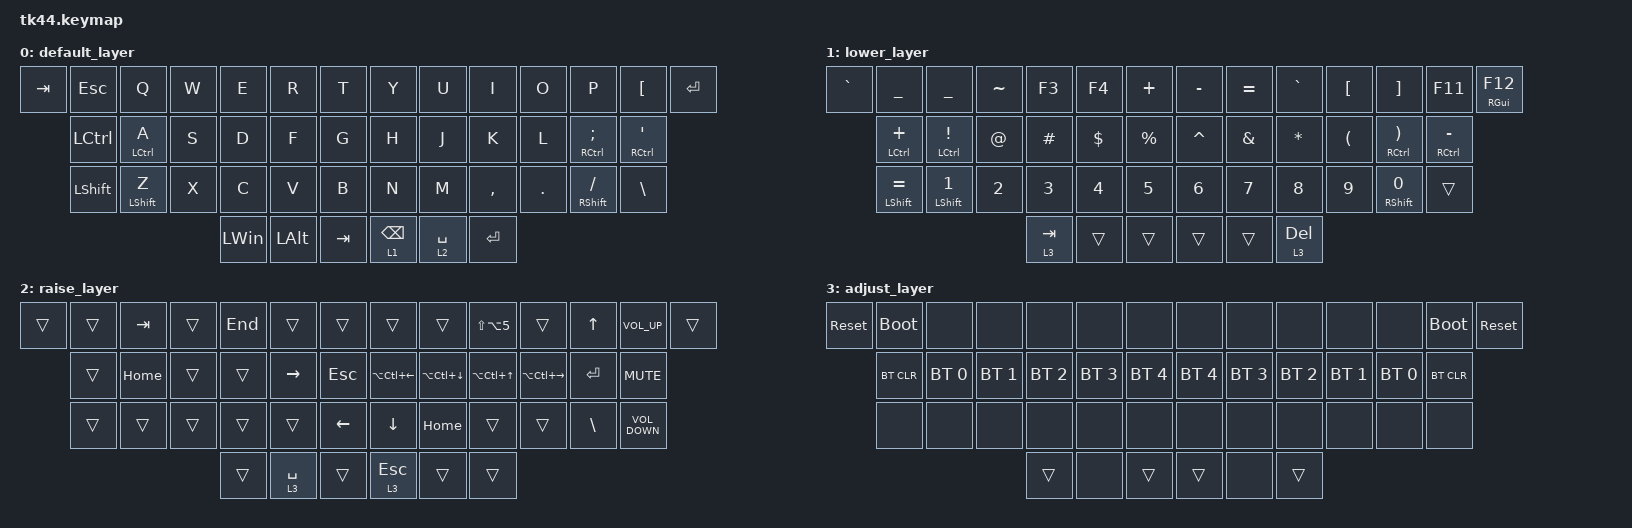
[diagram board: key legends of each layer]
/*
 * Copyright (c) 2022 The ZMK Contributors
 *
 * SPDX-License-Identifier: MIT
 */

#include <behaviors.dtsi>
#include <dt-bindings/zmk/bt.h>
#include <dt-bindings/zmk/keys.h>
#include <dt-bindings/zmk/keys.h>

#define DEF 0
#define LWR 1
#define RSE 2
#define ADJ 3

&lt { quick_tap_ms = <200>; };

&mt {
    quick_tap_ms = <350>;
    flavor = "tap-preferred";
};

/ {
    macros {
        kill: kill {
            compatible = "zmk,behavior-macro";
            #binding-cells = <0>;
            bindings = <&kp LS(END) &kp LA(X)>;
            label = "KILL";
        };

        copy: copy {
            compatible = "zmk,behavior-macro";
            #binding-cells = <0>;
            bindings = <&kp LA(C) &kt LEFT_SHIFT>;
            label = "COPY";
        };

        killregion: killregion {
            compatible = "zmk,behavior-macro";
            #binding-cells = <0>;
            bindings = <&kp LA(X) &kt LEFT_SHIFT>;
            label = "KILLREGION";
        };
    };

    combos {
        compatible = "zmk,combos";

        esc {
            bindings = <&kp ESC>;
            key-positions = <2 3>;
        };

        sqt {
            bindings = <&kp SQT>;
            key-positions = <24 23>;
        };

        bslh {
            bindings = <&kp BSLH>;
            key-positions = <36 35>;
        };

        lbkt {
            bindings = <&kp LBKT>;
            key-positions = <11 10>;
        };

        tab {
            bindings = <&kp TAB>;
            key-positions = <17 16>;
        };

        enter {
            bindings = <&kp ENTER>;
            key-positions = <22 23>;
        };
    };

    keymap {
        compatible = "zmk,keymap";

        default_layer {
            // -----------------------------------------------------------------------------------------
            // |  GUI |   ~  |  Q  |  W  |  E  |  R  |  T  |   |  Y  |  U   |  I  |  O  |  P  |  [   | GUI/] |
            //        | CTRL |  A  |  S  |  D  |  F  |  G  |   |  H  |  J   |  K  |  L  |  ;  |CTRL/'|
            //        | LALT |  Z  |  X  |  C  |  V  |  B  |   |  N  |  M   |  ,  |  .  |  /  | RALT |
            //                           | RSE | SPC | LWR |   | LWR | BKSP | RSE |

            bindings = <
&kp TAB  &kp ESCAPE  &kp Q             &kp W  &kp E         &kp R         &kp T      &kp Y            &kp U        &kp I      &kp O    &kp P             &kp LBKT       &kp ENTER
         &kp LCTRL   &mt LCTRL A       &kp S  &kp D         &kp F         &kp G      &kp H            &kp J        &kp K      &kp L    &mt RCTRL SEMI    &mt RCTRL SQT
         &kp LSHFT   &mt LEFT_SHIFT Z  &kp X  &kp C         &kp V         &kp B      &kp N            &kp M        &kp COMMA  &kp DOT  &mt RSHIFT SLASH  &kp BACKSLASH
                                              &kp LEFT_WIN  &kp LEFT_ALT  &kp TAB    &lt 1 BACKSPACE  &lt 2 SPACE  &kp ENTER
            >;
        };

        lower_layer {
            // -----------------------------------------------------------------------------------------
            // |     |  _  |  F1 |  F2 |  F3 |  F4 |  F5 |   |  F6 |  F7 |  F8 |  F9 | F10 | F11 | F12 |
            //       |  +  |  !  |  @  |  #  |  $  |  %  |   |  ^  |  &  |  *  |  (  |  )  |  -  |
            //       |  =  |  1  |  2  |  3  |  4  |  5  |   |  6  |  7  |  8  |  9  |  0  |     |
            //                    | GUI |     | SPC |   | ENT |     | ALT |

            bindings = <
&kp GRAVE  &kp UNDER         &kp UNDER       &kp TILDE  &kp F3     &kp F4    &kp PLUS     &kp MINUS  &kp EQUAL  &kp GRAVE  &kp LEFT_BRACKET  &kp RIGHT_BRACKET            &kp F11          &mt RGUI F12
           &mt LCTRL PLUS    &mt LCTRL EXCL  &kp AT     &kp HASH   &kp DLLR  &kp PRCNT    &kp CARET  &kp AMPS   &kp STAR   &kp LPAR          &mt RCTRL RIGHT_PARENTHESIS  &mt RCTRL MINUS
           &mt LSHIFT EQUAL  &mt LSHIFT N1   &kp N2     &kp N3     &kp N4    &kp N5       &kp N6     &kp N7     &kp N8     &kp N9            &mt RIGHT_SHIFT N0           &trans
                                                        &lt 3 TAB  &trans    &trans       &trans     &trans     &lt 3 DEL
            >;
        };

        raise_layer {
            // -----------------------------------------------------------------------------------------
            // |     | NMLK |  /  |  7  |  8  |  9  |  -  |   | VOLU| HOME| PRSC| PGUP| SCLK| CLCK|     |
            //       | CTRL |  *  |  4  |  5  |  6  |  +  |   | MUT | LEFT|  UP | RGHT| INS | APP |
            //       |      |  0  |  1  |  2  |  3  |  .  |   | VOLD| END | DOWN| PGDN| PAUS|     |
            //                          |     |     | ADJ |   | ADJ |     |     |

            bindings = <
&trans  &trans  &kp TAB   &trans  &kp END  &trans       &trans      &trans            &trans            &kp LS(LA(N5))  &trans             &kp UP         &kp C_VOLUME_UP    &trans
        &trans  &kp HOME  &trans  &trans   &kp RIGHT    &kp ESC     &kp LA(LC(LEFT))  &kp LA(LC(DOWN))  &kp LA(LC(UP))  &kp LA(LC(RIGHT))  &kp ENTER      &kp K_MUTE
        &trans  &trans    &trans  &trans   &trans       &kp LEFT    &kp DOWN          &kp HOME          &trans          &trans             &kp BACKSLASH  &kp C_VOLUME_DOWN
                                  &trans   &lt 3 SPACE  &trans      &lt 3 ESC         &trans            &trans
            >;
        };

        adjust_layer {
            // -----------------------------------------------------------------------------------------
            // | RST | BLDR |     |     |     |     |     |   |     |     |     |     |     | BLDR | RST |
            //       | BTCLR| BT0 | BT1 | BT2 | BT3 | BT4 |   | BT4 | BT3 | BT2 | BT1 | BT0 | BTCLR|
            //       |      |     |     |     |     |     |   |     |     |     |     |     |      |
            //                          |     |     |     |   |     |     |     |

            bindings = <
&sys_reset  &bootloader  &none         &none         &none         &none         &none           &none         &none         &none         &none         &none         &bootloader  &sys_reset
            &bt BT_CLR   &bt BT_SEL 0  &bt BT_SEL 1  &bt BT_SEL 2  &bt BT_SEL 3  &bt BT_SEL 4    &bt BT_SEL 4  &bt BT_SEL 3  &bt BT_SEL 2  &bt BT_SEL 1  &bt BT_SEL 0  &bt BT_CLR
            &none        &none         &none         &none         &none         &none           &none         &none         &none         &none         &none         &none
                                                     &trans        &none         &trans          &trans        &none         &trans
            >;
        };
    };
};
